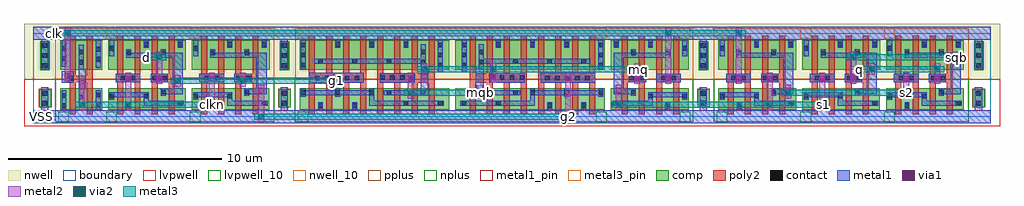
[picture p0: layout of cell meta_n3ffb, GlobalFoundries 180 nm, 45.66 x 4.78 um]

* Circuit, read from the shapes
.subckt meta_n3ffb VDD VSS clk clkn d g1 g2 mq mqb q s1 s2 sqb
XM1 clkn clk VSS VSS nfet_03v3 w=1u l=0.28u m=2
XM2 VSS clkn n1 VSS nfet_03v3 w=1u l=0.28u m=2
XM3 g1 d n1 VSS nfet_03v3 w=1u l=0.28u m=2
XM4 VSS clkn n2 VSS nfet_03v3 w=1u l=0.28u m=2
XM5 g2 g1 n2 VSS nfet_03v3 w=1u l=0.28u m=2
XM6 VSS g1 n3 VSS nfet_03v3 w=1u l=0.28u m=4
XM7 mq mqb n3 VSS nfet_03v3 w=1u l=0.28u m=4
XM8 mqb mq n4 VSS nfet_03v3 w=1u l=0.28u m=4
XM9 VSS g2 n4 VSS nfet_03v3 w=1u l=0.28u m=4
XM10 s1 mq n5 VSS nfet_03v3 w=1u l=0.28u m=2
XM11 VSS clk n5 VSS nfet_03v3 w=1u l=0.28u m=2
XM12 VSS clk n6 VSS nfet_03v3 w=1u l=0.28u m=2
XM13 s2 s1 n6 VSS nfet_03v3 w=1u l=0.28u m=2
XM14 VSS s1 n7 VSS nfet_03v3 w=1u l=0.28u m=2
XM15 q sqb n7 VSS nfet_03v3 w=1u l=0.28u m=2
XM16 VSS s2 n8 VSS nfet_03v3 w=1u l=0.28u m=2
XM17 sqb q n8 VSS nfet_03v3 w=1u l=0.28u m=2
XM18 clkn clk VDD VDD pfet_03v3 w=1.38u l=0.28u m=2
XM19 g1 clkn VDD VDD pfet_03v3 w=1.38u l=0.28u m=2
XM20 g1 d VDD VDD pfet_03v3 w=1.38u l=0.28u m=2
XM21 g2 clkn VDD VDD pfet_03v3 w=1.38u l=0.28u m=2
XM22 g2 g1 VDD VDD pfet_03v3 w=1.38u l=0.28u m=2
XM23 mq g1 VDD VDD pfet_03v3 w=1.38u l=0.28u m=4
XM24 mq mqb VDD VDD pfet_03v3 w=1.38u l=0.28u m=4
XM25 mqb mq VDD VDD pfet_03v3 w=1.38u l=0.28u m=4
XM26 mqb g2 VDD VDD pfet_03v3 w=1.38u l=0.28u m=4
XM27 s1 mq VDD VDD pfet_03v3 w=1.38u l=0.28u m=2
XM28 s1 clk VDD VDD pfet_03v3 w=1.38u l=0.28u m=2
XM29 s2 clk VDD VDD pfet_03v3 w=1.38u l=0.28u m=2
XM30 s2 s1 VDD VDD pfet_03v3 w=1.38u l=0.28u m=2
XM31 q s1 VDD VDD pfet_03v3 w=1.38u l=0.28u m=2
XM32 q sqb VDD VDD pfet_03v3 w=1.38u l=0.28u m=2
XM33 sqb s2 VDD VDD pfet_03v3 w=1.38u l=0.28u m=2
XM34 sqb q VDD VDD pfet_03v3 w=1.38u l=0.28u m=2
.ends

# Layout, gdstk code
from math import pi, radians
import gdstk
lib = gdstk.Library(unit=1e-6, precision=1e-09)
def R(c, l, rs):  # rectangles x0, y0, x1, y1
    for r in rs: c.add(gdstk.rectangle(r[:2], r[2:], *l))
def A(c, l, x, y, w, h, nx, ny, dx, dy):  # array of equal rectangles
    R(c, l, [(x+i*dx, y+j*dy, x+i*dx+w, y+j*dy+h) for i in range(nx) for j in range(ny)])
boundary = (0, 0)
nwell = (21, 0)
nwell_10 = (21, 10)
comp = (22, 0)
poly2 = (30, 0)
pplus = (31, 0)
nplus = (32, 0)
contact = (33, 0)
metal1 = (34, 0)
metal1_pin = (34, 10)
via1 = (35, 0)
metal2 = (36, 0)
via2 = (38, 0)
metal3 = (42, 0)
metal3_pin = (42, 10)
lvpwell = (204, 0)
lvpwell_10 = (204, 10)

gf180mcu_as_sc_mcu7t3v3_ = lib.new_cell('gf180mcu_as_sc_mcu7t3v3__inv_2')
R(gf180mcu_as_sc_mcu7t3v3_, boundary, [(0,0,2.24,3.92)])
R(gf180mcu_as_sc_mcu7t3v3_, nwell, [(-0.43,1.77,2.67,4.35)])
R(gf180mcu_as_sc_mcu7t3v3_, nwell_10, [(0.05,3.67,0.55,4.17)])
R(gf180mcu_as_sc_mcu7t3v3_, comp, [(0.14,0.34,2.1,1.34), (0.14,2.2,2.1,3.58)])
R(gf180mcu_as_sc_mcu7t3v3_, poly2, [(0.58,0.12,0.86,1.625), (1.38,0.12,1.66,1.625), (0.48,1.625,1.66,1.935), (0.48,1.935,0.86,1.99), (1.38,1.935,1.66,3.8), (0.58,1.99,0.86,3.8)])
R(gf180mcu_as_sc_mcu7t3v3_, pplus, [(-0.08,1.77,2.32,4.15)])
R(gf180mcu_as_sc_mcu7t3v3_, nplus, [(-0.08,-0.23,2.32,1.77)])
R(gf180mcu_as_sc_mcu7t3v3_, contact, [(0.21,0.415,0.43,0.635), (1.81,0.445,2.03,0.665), (1.01,0.82,1.23,1.04), (0.21,0.885,0.43,1.105), (1.81,0.915,2.03,1.135), (0.55,1.695,0.77,1.915), (1.01,2.45,1.23,2.67), (1.81,2.585,2.03,2.805), (0.21,2.615,0.43,2.835), (1.01,2.92,1.23,3.14), (1.81,3.055,2.03,3.275), (0.21,3.085,0.43,3.305)])
R(gf180mcu_as_sc_mcu7t3v3_, metal1, [(0,-0.3,2.24,0.3), (0.205,0.3,0.435,1.235), (1.805,0.3,2.035,1.235), (1.005,0.53,1.235,1.26), (1.005,1.26,1.35,2.255), (0.205,1.59,0.775,2.125), (1.005,2.255,1.235,3.385), (1.805,2.295,2.035,3.62), (0.205,2.355,0.435,3.62), (0,3.62,2.24,4.22)])
R(gf180mcu_as_sc_mcu7t3v3_, metal1_pin, [(0,-0.3,2.24,0.3), (1.005,1.26,1.35,2.255), (0.205,1.59,0.775,2.125), (0,3.62,2.24,4.22)])
R(gf180mcu_as_sc_mcu7t3v3_, lvpwell, [(-0.43,-0.43,2.67,1.77)])
R(gf180mcu_as_sc_mcu7t3v3_, lvpwell_10, [(0.05,-0.25,0.55,0.25)])
gf180mcu_as_sc_mcu7t3v3_.add(gdstk.Label('VDD', (1.12,3.92), layer=34, texttype=10))
gf180mcu_as_sc_mcu7t3v3_.add(gdstk.Label('VNW', (0.3,3.92), layer=21, texttype=10))
gf180mcu_as_sc_mcu7t3v3_.add(gdstk.Label('VPW', (0.3,0), layer=204, texttype=10))
gf180mcu_as_sc_mcu7t3v3_.add(gdstk.Label('VSS', (1.12,0), layer=34, texttype=10))
gf180mcu_as_sc_mcu7t3v3_.add(gdstk.Label('Y', (1.177,1.757), layer=34, texttype=10))
gf180mcu_as_sc_mcu7t3v3_.add(gdstk.Label('A', (0.49,1.857), layer=34, texttype=10))

c_gf180mcu_as_sc_mcu7t3v3_ = lib.new_cell('gf180mcu_as_sc_mcu7t3v3__nand2_2')
R(c_gf180mcu_as_sc_mcu7t3v3_, boundary, [(0,0,3.92,3.92)])
R(c_gf180mcu_as_sc_mcu7t3v3_, nwell, [(-0.43,1.77,4.35,4.35)])
R(c_gf180mcu_as_sc_mcu7t3v3_, nwell_10, [(0.05,3.67,0.55,4.17)])
R(c_gf180mcu_as_sc_mcu7t3v3_, comp, [(0.14,0.34,3.775,1.34), (0.14,2.2,3.78,3.58)])
R(c_gf180mcu_as_sc_mcu7t3v3_, poly2, [(0.58,0.12,0.86,1.615), (1.38,0.12,1.66,1.615), (2.18,0.12,2.46,1.61), (2.98,0.12,3.26,1.61), (2.13,1.61,3.26,2.015), (0.5,1.615,1.66,2.02), (2.18,2.015,2.46,3.8), (2.98,2.015,3.26,3.8), (0.58,2.02,0.86,3.8), (1.38,2.02,1.66,3.8)])
R(c_gf180mcu_as_sc_mcu7t3v3_, pplus, [(-0.08,1.77,4,4.15)])
R(c_gf180mcu_as_sc_mcu7t3v3_, nplus, [(-0.08,-0.23,4,1.77)])
R(c_gf180mcu_as_sc_mcu7t3v3_, contact, [(1.01,0.41,1.23,0.63), (3.41,0.535,3.63,0.755), (0.21,0.865,0.43,1.085), (1.81,0.865,2.03,1.085), (2.61,1.05,2.83,1.27), (2.22,1.71,2.44,1.93), (2.69,1.71,2.91,1.93), (0.735,1.715,0.955,1.935), (1.205,1.715,1.425,1.935), (1.01,2.88,1.23,3.1), (2.61,2.88,2.83,3.1), (0.21,3.1,0.43,3.32), (1.81,3.29,2.03,3.51), (3.415,3.29,3.635,3.51)])
R(c_gf180mcu_as_sc_mcu7t3v3_, metal1, [(0,-0.3,3.92,0.3), (1.005,0.3,1.235,0.69), (1.805,0.53,3.69,0.76), (1.805,0.76,2.035,0.92), (0.205,0.805,0.435,0.92), (0.205,0.92,2.035,1.15), (2.605,0.99,2.835,1.05), (2.605,1.05,3.635,1.32), (2.605,1.32,2.835,1.33), (3.165,1.32,3.635,2.77), (2.13,1.61,2.935,2.015), (0.5,1.615,1.66,2.02), (1.005,2.77,3.635,3), (0.205,2.84,0.435,3.62), (1.005,3,1.235,3.16), (2.605,3,2.835,3.16), (1.805,3.23,2.035,3.62), (3.41,3.23,3.64,3.62), (0,3.62,3.92,4.22)])
R(c_gf180mcu_as_sc_mcu7t3v3_, metal1_pin, [(0,-0.3,3.92,0.3), (3.165,1.05,3.635,3), (2.13,1.61,2.935,2.015), (0.5,1.615,1.66,2.02), (0,3.62,3.92,4.22)])
R(c_gf180mcu_as_sc_mcu7t3v3_, lvpwell, [(-0.43,-0.43,4.35,1.77)])
R(c_gf180mcu_as_sc_mcu7t3v3_, lvpwell_10, [(0.05,-0.25,0.55,0.25)])
c_gf180mcu_as_sc_mcu7t3v3_.add(gdstk.Label('VDD', (1.96,3.92), layer=34, texttype=10))
c_gf180mcu_as_sc_mcu7t3v3_.add(gdstk.Label('VNW', (0.3,3.92), layer=21, texttype=10))
c_gf180mcu_as_sc_mcu7t3v3_.add(gdstk.Label('VPW', (0.3,0), layer=204, texttype=10))
c_gf180mcu_as_sc_mcu7t3v3_.add(gdstk.Label('VSS', (1.96,0), layer=34, texttype=10))
c_gf180mcu_as_sc_mcu7t3v3_.add(gdstk.Label('Y', (3.4,2.025), layer=34, texttype=10))
c_gf180mcu_as_sc_mcu7t3v3_.add(gdstk.Label('B', (2.532,1.812), layer=34, texttype=10))
c_gf180mcu_as_sc_mcu7t3v3_.add(gdstk.Label('A', (1.08,1.817), layer=34, texttype=10))

c_gf180mcu_as_sc_mcu7t3v3__ = lib.new_cell('gf180mcu_as_sc_mcu7t3v3__tap_2')
R(c_gf180mcu_as_sc_mcu7t3v3__, boundary, [(0,0,1.12,3.92)])
R(c_gf180mcu_as_sc_mcu7t3v3__, nwell, [(-0.43,1.77,1.55,4.35)])
R(c_gf180mcu_as_sc_mcu7t3v3__, comp, [(0.28,0.46,0.84,1.29), (0.36,2.22,0.76,3.52)])
R(c_gf180mcu_as_sc_mcu7t3v3__, pplus, [(0.335,0.43,0.755,0.44), (0.26,0.44,0.86,1.31), (0.335,1.31,0.755,1.32)])
R(c_gf180mcu_as_sc_mcu7t3v3__, nplus, [(0.335,2.19,0.755,2.2), (0.335,2.2,0.78,3.54), (0.335,3.54,0.755,3.55)])
A(c_gf180mcu_as_sc_mcu7t3v3__, contact, 0.435, 2.29, 0.22, 0.22, 1, 3, 0, 0.47)
R(c_gf180mcu_as_sc_mcu7t3v3__, contact, [(0.435,0.53,0.655,0.75), (0.435,1,0.655,1.22)])
R(c_gf180mcu_as_sc_mcu7t3v3__, metal1, [(0,-0.3,1.12,0.3), (0.375,0.3,0.715,1.38), (0.375,2.235,0.715,3.62), (0,3.62,1.12,4.22)])
R(c_gf180mcu_as_sc_mcu7t3v3__, metal1_pin, [(0,-0.3,1.12,0.3), (0,3.62,1.12,4.22)])
R(c_gf180mcu_as_sc_mcu7t3v3__, lvpwell, [(-0.43,-0.43,1.55,1.77)])
c_gf180mcu_as_sc_mcu7t3v3__.add(gdstk.Label('VDD', (0.56,3.92), layer=34, texttype=10))
c_gf180mcu_as_sc_mcu7t3v3__.add(gdstk.Label('VSS', (0.56,0), layer=34, texttype=10))

c_gf180mcu_as_sc_mcu7t3v3___ = lib.new_cell('gf180mcu_as_sc_mcu7t3v3__nand2_4')
R(c_gf180mcu_as_sc_mcu7t3v3___, boundary, [(0,0,7.28,3.92)])
R(c_gf180mcu_as_sc_mcu7t3v3___, nwell, [(-0.415,1.77,7.725,4.35)])
R(c_gf180mcu_as_sc_mcu7t3v3___, nwell_10, [(0.065,3.67,0.565,4.17)])
R(c_gf180mcu_as_sc_mcu7t3v3___, comp, [(0.14,0.34,7.14,1.34), (0.14,2.2,7.14,3.58)])
A(c_gf180mcu_as_sc_mcu7t3v3___, poly2, 0.58, 0.12, 0.28, 1.48, 4, 1, 0.8, 0)
A(c_gf180mcu_as_sc_mcu7t3v3___, poly2, 3.78, 0.12, 0.28, 1.475, 4, 1, 0.8, 0)
A(c_gf180mcu_as_sc_mcu7t3v3___, poly2, 3.78, 2.05, 0.28, 1.75, 4, 1, 0.8, 0)
A(c_gf180mcu_as_sc_mcu7t3v3___, poly2, 0.58, 2.055, 0.28, 1.745, 4, 1, 0.8, 0)
R(c_gf180mcu_as_sc_mcu7t3v3___, poly2, [(3.78,1.595,6.46,2.05), (0.58,1.6,3.26,2.055)])
R(c_gf180mcu_as_sc_mcu7t3v3___, pplus, [(-0.065,1.77,7.375,4.15)])
R(c_gf180mcu_as_sc_mcu7t3v3___, nplus, [(-0.08,-0.23,7.36,1.77)])
A(c_gf180mcu_as_sc_mcu7t3v3___, contact, 0.21, 1.02, 0.22, 0.22, 3, 1, 1.6, 0)
A(c_gf180mcu_as_sc_mcu7t3v3___, contact, 0.845, 1.705, 0.22, 0.22, 5, 1, 0.47, 0)
A(c_gf180mcu_as_sc_mcu7t3v3___, contact, 3.9, 1.73, 0.22, 0.22, 4, 1, 0.47, 0)
A(c_gf180mcu_as_sc_mcu7t3v3___, contact, 6.61, 2.31, 0.22, 0.22, 1, 3, 0, 0.47)
A(c_gf180mcu_as_sc_mcu7t3v3___, contact, 0.21, 2.32, 0.22, 0.22, 1, 3, 0, 0.47)
A(c_gf180mcu_as_sc_mcu7t3v3___, contact, 1.01, 2.485, 0.22, 0.22, 3, 1, 1.6, 0)
A(c_gf180mcu_as_sc_mcu7t3v3___, contact, 1.81, 3.29, 0.22, 0.22, 3, 1, 1.6, 0)
R(c_gf180mcu_as_sc_mcu7t3v3___, contact, [(1.01,0.41,1.23,0.63), (2.61,0.41,2.83,0.63), (5.01,0.535,5.23,0.755), (6.61,0.535,6.83,0.755), (4.21,1.02,4.43,1.24), (5.81,1.02,6.03,1.24), (5.81,2.455,6.03,2.675), (5.81,2.925,6.03,3.145)])
A(c_gf180mcu_as_sc_mcu7t3v3___, metal1, 0.205, 1.245, 0.23, 0.07, 3, 1, 1.6, 0)
A(c_gf180mcu_as_sc_mcu7t3v3___, metal1, 1.805, 3.23, 0.23, 0.39, 3, 1, 1.6, 0)
R(c_gf180mcu_as_sc_mcu7t3v3___, metal1, [(0,-0.3,7.28,0.3), (1.005,0.3,1.235,0.69), (2.605,0.3,2.835,0.69), (3.405,0.53,6.89,0.76), (3.405,0.76,3.635,1.015), (0.205,0.95,0.435,1.015), (1.805,0.95,2.035,1.015), (0.205,1.015,3.635,1.245), (4.085,1.015,6.165,1.245), (5.805,1.245,6.165,2.265), (3.895,1.595,5.54,2.05), (0.58,1.6,3.145,2.055), (6.605,2.135,6.835,3.62), (0.205,2.235,0.435,3.62), (5.805,2.265,6.035,2.48), (0.82,2.48,6.035,2.71), (5.805,2.71,6.035,3.39), (0,3.62,7.28,4.22)])
R(c_gf180mcu_as_sc_mcu7t3v3___, metal1_pin, [(0,-0.3,7.28,0.3), (5.805,1.015,6.165,2.265), (3.895,1.595,5.54,2.05), (0.58,1.6,3.145,2.055), (0,3.62,7.28,4.22)])
R(c_gf180mcu_as_sc_mcu7t3v3___, lvpwell, [(-0.43,-0.43,7.71,1.77)])
R(c_gf180mcu_as_sc_mcu7t3v3___, lvpwell_10, [(0.05,-0.25,0.55,0.25)])
c_gf180mcu_as_sc_mcu7t3v3___.add(gdstk.Label('VDD', (3.64,3.92), layer=34, texttype=10))
c_gf180mcu_as_sc_mcu7t3v3___.add(gdstk.Label('VNW', (0.315,3.92), layer=21, texttype=10))
c_gf180mcu_as_sc_mcu7t3v3___.add(gdstk.Label('VPW', (0.3,0), layer=204, texttype=10))
c_gf180mcu_as_sc_mcu7t3v3___.add(gdstk.Label('VSS', (3.64,0), layer=34, texttype=10))
c_gf180mcu_as_sc_mcu7t3v3___.add(gdstk.Label('Y', (5.985,1.64), layer=34, texttype=10))
c_gf180mcu_as_sc_mcu7t3v3___.add(gdstk.Label('A', (1.862,1.827), layer=34, texttype=10))
c_gf180mcu_as_sc_mcu7t3v3___.add(gdstk.Label('B', (4.717,1.822), layer=34, texttype=10))

meta_n3ffb = lib.new_cell('meta_n3ffb')
R(meta_n3ffb, metal1, [(0.2,-0.2,0.6,0.2), (20.765,1.075,21.025,1.335), (10.55,1.11,10.81,1.37), (27.27,1.11,27.53,1.37), (35.19,1.11,35.45,1.37), (2.17,1.32,2.43,1.58), (6.63,1.55,6.89,1.81), (17.54,1.655,17.8,1.915), (14.05,1.66,14.31,1.92), (24.89,1.66,25.15,1.92), (9.68,1.67,9.94,1.93), (34.32,1.67,34.58,1.93), (4.31,1.675,4.57,1.935), (8.23,1.675,8.49,1.935), (36.79,1.675,37.05,1.935), (40.71,1.675,40.97,1.935), (5.76,1.695,6.02,1.955), (28.14,1.695,28.4,1.955), (38.24,1.695,38.5,1.955), (42.16,1.695,42.42,1.955), (29.59,1.7,29.85,1.96), (32.87,1.7,33.13,1.96), (21.4,1.73,21.66,1.99), (1.48,1.805,1.74,2.065), (18.175,1.945,18.435,2.205), (39.11,2.11,39.37,2.37), (43.03,2.67,43.29,2.93), (0.2,3.7,0.6,4.1)])
R(meta_n3ffb, metal1_pin, [(0.2,-0.2,0.6,0.2), (0.2,3.7,0.6,4.1)])
R(meta_n3ffb, via1, [(20.765,1.075,21.025,1.335), (10.55,1.11,10.81,1.37), (27.27,1.11,27.53,1.37), (35.19,1.11,35.45,1.37), (2.17,1.32,2.43,1.58), (6.63,1.55,6.89,1.81), (17.54,1.655,17.8,1.915), (14.05,1.66,14.31,1.92), (24.89,1.66,25.15,1.92), (9.68,1.67,9.94,1.93), (34.32,1.67,34.58,1.93), (4.31,1.675,4.57,1.935), (8.23,1.675,8.49,1.935), (36.79,1.675,37.05,1.935), (40.71,1.675,40.97,1.935), (5.76,1.695,6.02,1.955), (28.14,1.695,28.4,1.955), (38.24,1.695,38.5,1.955), (42.16,1.695,42.42,1.955), (29.59,1.7,29.85,1.96), (32.87,1.7,33.13,1.96), (21.4,1.73,21.66,1.99), (1.48,1.805,1.74,2.065), (18.175,1.945,18.435,2.205), (39.11,2.11,39.37,2.37), (43.03,2.67,43.29,2.93)])
R(meta_n3ffb, metal2, [(10.54,-0.27,10.82,1.51), (24.88,-0.27,25.16,2.06), (2.16,0.29,2.44,1.72), (4.3,0.29,4.58,2.075), (8.22,0.29,8.5,2.075), (27.26,0.29,27.54,1.51), (34.31,0.29,34.59,2.07), (36.78,0.29,37.06,2.075), (17.53,0.85,17.81,2.055), (20.755,0.85,21.035,1.475), (35.18,0.85,35.46,1.51), (40.7,0.85,40.98,2.075), (6.62,1.41,6.9,1.95), (9.67,1.41,9.95,2.07), (14.04,1.41,14.32,2.06), (5.75,1.555,6.03,3.07), (28.13,1.555,28.41,2.51), (38.23,1.555,38.51,3.07), (42.15,1.555,42.43,2.51), (29.58,1.56,29.86,4.19), (32.86,1.56,33.14,4.19), (21.39,1.59,21.67,2.51), (1.47,1.665,1.75,4.19), (18.165,1.805,18.445,2.51), (39.1,1.97,39.38,2.51), (43.02,2.53,43.3,3.07)])
R(meta_n3ffb, via2, [(10.55,-0.13,10.81,0.13), (24.89,-0.13,25.15,0.13), (2.17,0.43,2.43,0.69), (4.31,0.43,4.57,0.69), (8.23,0.43,8.49,0.69), (27.27,0.43,27.53,0.69), (34.32,0.43,34.58,0.69), (36.79,0.43,37.05,0.69), (17.54,0.99,17.8,1.25), (20.765,0.99,21.025,1.25), (35.19,0.99,35.45,1.25), (40.71,0.99,40.97,1.25), (6.63,1.55,6.89,1.81), (9.68,1.55,9.94,1.81), (14.05,1.55,14.31,1.81), (18.175,2.11,18.435,2.37), (21.4,2.11,21.66,2.37), (28.14,2.11,28.4,2.37), (39.11,2.11,39.37,2.37), (42.16,2.11,42.42,2.37), (5.76,2.67,6.02,2.93), (38.24,2.67,38.5,2.93), (43.03,2.67,43.29,2.93), (1.48,3.79,1.74,4.05), (29.59,3.79,29.85,4.05), (32.87,3.79,33.13,4.05)])
R(meta_n3ffb, metal3, [(10.35,-0.14,25.35,0.14), (1.97,0.42,8.69,0.7), (27.07,0.42,37.25,0.7), (17.34,0.98,21.225,1.26), (34.99,0.98,41.17,1.26), (6.43,1.54,14.51,1.82), (17.975,2.1,28.6,2.38), (38.51,2.1,42.62,2.38), (5.16,2.66,6.22,2.94), (38.04,2.66,43.49,2.94), (0.88,3.78,33.33,4.06)])
R(meta_n3ffb, metal3_pin, [(38.51,2.1,38.79,2.38), (5.16,2.66,5.44,2.94), (0.88,3.78,1.16,4.06)])
meta_n3ffb.add(gdstk.Reference(gf180mcu_as_sc_mcu7t3v3_, (1.12,0)))
meta_n3ffb.add(gdstk.Reference(c_gf180mcu_as_sc_mcu7t3v3_, (3.36,0)))
meta_n3ffb.add(gdstk.Reference(c_gf180mcu_as_sc_mcu7t3v3_, (7.28,0)))
meta_n3ffb.add(gdstk.Reference(c_gf180mcu_as_sc_mcu7t3v3__, (0,0)))
meta_n3ffb.add(gdstk.Reference(c_gf180mcu_as_sc_mcu7t3v3___, (12.32,0)))
meta_n3ffb.add(gdstk.Reference(c_gf180mcu_as_sc_mcu7t3v3__, (11.2,0)))
meta_n3ffb.add(gdstk.Reference(c_gf180mcu_as_sc_mcu7t3v3___, (26.88,0), rotation=pi, x_reflection=True))
meta_n3ffb.add(gdstk.Reference(c_gf180mcu_as_sc_mcu7t3v3_, (30.8,0), rotation=pi, x_reflection=True))
meta_n3ffb.add(gdstk.Reference(c_gf180mcu_as_sc_mcu7t3v3_, (31.92,0)))
meta_n3ffb.add(gdstk.Reference(c_gf180mcu_as_sc_mcu7t3v3__, (30.8,0)))
meta_n3ffb.add(gdstk.Reference(c_gf180mcu_as_sc_mcu7t3v3_, (35.84,0)))
meta_n3ffb.add(gdstk.Reference(c_gf180mcu_as_sc_mcu7t3v3_, (39.76,0)))
meta_n3ffb.add(gdstk.Reference(c_gf180mcu_as_sc_mcu7t3v3__, (43.68,0)))
meta_n3ffb.add(gdstk.Label('clkn', (8.39,0.56), layer=42, texttype=0))
meta_n3ffb.add(gdstk.Label('g1', (14.21,1.68), layer=42, texttype=0))
meta_n3ffb.add(gdstk.Label('g2', (25.05,0), layer=42, texttype=0))
meta_n3ffb.add(gdstk.Label('mq', (28.3,2.24), layer=42, texttype=0))
meta_n3ffb.add(gdstk.Label('mqb', (20.925,1.12), layer=42, texttype=0))
meta_n3ffb.add(gdstk.Label('s1', (36.95,0.56), layer=42, texttype=0))
meta_n3ffb.add(gdstk.Label('s2', (40.87,1.12), layer=42, texttype=0))
meta_n3ffb.add(gdstk.Label('sqb', (43.19,2.8), layer=42, texttype=0))
meta_n3ffb.add(gdstk.Label('d', (5.3,2.8), layer=42, texttype=10))
meta_n3ffb.add(gdstk.Label('clk', (1.02,3.92), layer=42, texttype=10))
meta_n3ffb.add(gdstk.Label('q', (38.65,2.24), layer=42, texttype=10))
meta_n3ffb.add(gdstk.Label('VDD', (0.4,3.9), layer=34, texttype=10))
meta_n3ffb.add(gdstk.Label('VSS', (0.4,0), layer=34, texttype=10))

lib.write_gds('meta_n3ffb.gds')
